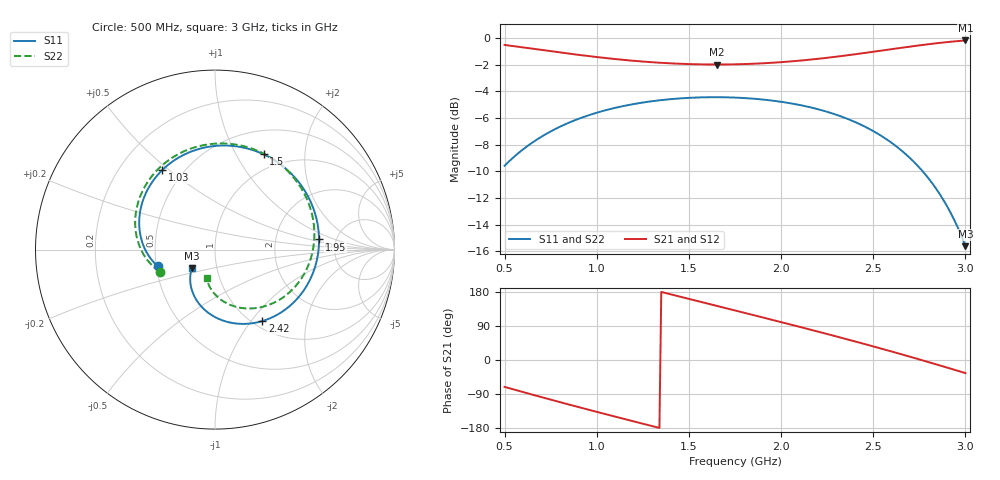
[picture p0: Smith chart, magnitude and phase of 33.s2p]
!freq-unit  param-type  data-format  keyword  impedance-ohms
# GHZ  S  RI  R  50
!Freq  ReS11  ImS11  ReS21  ImS21  ReS12  ImS12  ReS22  ImS22
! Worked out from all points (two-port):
!   251 points, 500 MHz to 3 GHz, reference 50 ohm
!   highest |S21| = -0.19 dB at 3 GHz (marker M1); lowest = -2.0 dB at 1.65 GHz (marker M2)
!   |S21| within 3 dB of the highest: start of sweep to end of sweep
!   lowest |S11| = -15.6 dB at 3 GHz (marker M3), VSWR 1.40, Z = 37.8 - j8.13 ohm
!   |S11| at or under -10 dB: 2.768 GHz to end of sweep
!   |S22| runs from -15.6 to -4.4 dB; largest |S21 - S12| = 0
!   S11 on the Smith chart (normalised r, x): 500 MHz: 0.51, -0.11; 1.03 GHz: 0.38, +0.47; 1.5 GHz: 0.79, +1.31; 1.95 GHz: 3.67, +0.63; 2.42 GHz: 1.10, -1.14; 3 GHz: 0.76, -0.16
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0.5  -0.3186 -0.0926  0.3062 -0.8896  0.3062 -0.8896  -0.3086 -0.1221
0.6  -0.3819 -0.0136  0.0863 -0.9172  0.0863 -0.9172  -0.378 -0.0566
0.7  -0.4172 0.0878  -0.1257 -0.8927  -0.1257 -0.8927  -0.4252 0.032
0.81  -0.4171 0.2121  -0.3365 -0.8135  -0.3365 -0.8135  -0.4448 0.1457
0.92  -0.375 0.335  -0.5142 -0.6901  -0.5142 -0.6901  -0.4278 0.2645
1.03  -0.2944 0.4426  -0.6521 -0.5342  -0.6521 -0.5342  -0.3754 0.3766
1.18  -0.136 0.545  -0.7706 -0.2887  -0.7706 -0.2887  -0.2548 0.5008
1.34  0.0673 0.5797  -0.8071 -0.011  -0.8071 -0.011  -0.0824 0.578
1.5  0.2711 0.5308  -0.7552 0.2569  -0.7552 0.2569  0.1092 0.5862
1.65  0.4322 0.4154  -0.6342 0.479  -0.6342 0.479  0.2815 0.5296
1.75  0.5113 0.309  -0.5196 0.6031  -0.5196 0.6031  0.3812 0.4604
1.85  0.5616 0.1867  -0.382 0.7029  -0.382 0.7029  0.4621 0.3702
1.95  0.5796 0.0565  -0.2254 0.7745  -0.2254 0.7745  0.5193 0.2641
2.06  0.5609 -0.0853  -0.0368 0.8162  -0.0368 0.8162  0.5509 0.1365
2.17  0.5033 -0.2139  0.1617 0.8146  0.1617 0.8146  0.5471 0.00692
2.3  0.3929 -0.3331  0.3968 0.752  0.3968 0.752  0.4975 -0.1345
2.42  0.2631 -0.3984  0.5995 0.6327  0.5995 0.6327  0.4134 -0.2393
2.59  0.0692 -0.4029  0.8285 0.3647  0.8285 0.3647  0.2529 -0.3215
2.7  -0.0372 -0.3522  0.9172 0.1384  0.9172 0.1384  0.1428 -0.3244
2.8  -0.1051 -0.2782  0.9426 -0.091  0.9426 -0.091  0.0537 -0.2927
2.9  -0.1367 -0.1903  0.9067 -0.328  0.9067 -0.328  -0.0126 -0.2342
3  -0.1287 -0.1044  0.8061 -0.554  0.8061 -0.554  -0.0472 -0.1591
